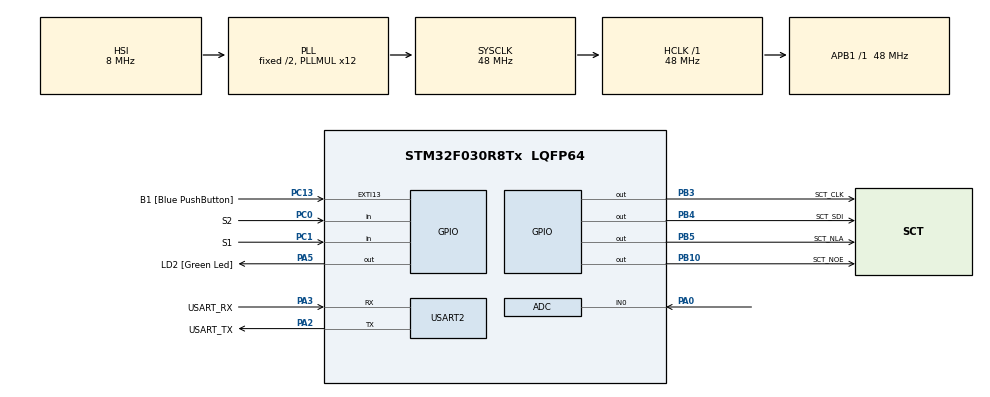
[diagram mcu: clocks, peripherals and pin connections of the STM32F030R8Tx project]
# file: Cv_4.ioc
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ADC.ContinuousConvMode=ENABLE
ADC.Overrun=ADC_OVR_DATA_OVERWRITTEN
ADC.SamplingTime=ADC_SAMPLETIME_239CYCLES_5
Mcu.Family=STM32F0
Mcu.Name=STM32F030R8Tx
Mcu.Package=LQFP64
NVIC.ADC1_IRQn=true\:0\:0\:false\:false\:true\:true\:true\:true
PA0.Mode=IN0
PA0.Signal=ADC_IN0
PA13.GPIO_Label=TMS
PA13.Mode=Serial_Wire
PA13.Signal=SYS_SWDIO
PA14.GPIO_Label=TCK
PA14.Mode=Serial_Wire
PA14.Signal=SYS_SWCLK
PA2.GPIO_Label=USART_TX
PA2.GPIO_Mode=GPIO_MODE_AF_PP
PA2.GPIO_PuPd=GPIO_NOPULL
PA2.GPIO_Speed=GPIO_SPEED_FREQ_LOW
PA2.Mode=Asynchronous
PA2.Signal=USART2_TX
PA3.GPIO_Label=USART_RX
PA3.GPIO_Mode=GPIO_MODE_AF_PP
PA3.GPIO_PuPd=GPIO_NOPULL
PA3.GPIO_Speed=GPIO_SPEED_FREQ_LOW
PA3.Mode=Asynchronous
PA3.Signal=USART2_RX
PA5.GPIO_Label=LD2 [Green Led]
PA5.GPIO_Mode=GPIO_MODE_OUTPUT_PP
PA5.GPIO_PuPd=GPIO_NOPULL
PA5.GPIO_Speed=GPIO_SPEED_FREQ_LOW
PA5.Signal=GPIO_Output
PB10.GPIO_Label=SCT_NOE
PB10.Signal=GPIO_Output
PB3.GPIO_Label=SCT_CLK
PB3.Signal=GPIO_Output
PB4.GPIO_Label=SCT_SDI
PB4.Signal=GPIO_Output
PB5.GPIO_Label=SCT_NLA
PB5.Signal=GPIO_Output
PC0.GPIO_Label=S2
PC0.GPIO_PuPd=GPIO_PULLUP
PC0.Signal=GPIO_Input
PC1.GPIO_Label=S1
PC1.GPIO_PuPd=GPIO_PULLUP
PC1.Signal=GPIO_Input
PC13.GPIO_Label=B1 [Blue PushButton]
PC13.GPIO_ModeDefaultEXTI=GPIO_MODE_IT_FALLING
PC13.Signal=GPXTI13
PC14-OSC32_IN.Mode=LSE-External-Oscillator
PC14-OSC32_IN.Signal=RCC_OSC32_IN
PC15-OSC32_OUT.Mode=LSE-External-Oscillator
PC15-OSC32_OUT.Signal=RCC_OSC32_OUT
PF0-OSC_IN.Mode=HSE-External-Clock-Source
PF0-OSC_IN.Signal=RCC_OSC_IN
PF1-OSC_OUT.Signal=RCC_OSC_OUT
ProjectManager.HeapSize=0x200
ProjectManager.StackSize=0x400
ProjectManager.TargetToolchain=STM32CubeIDE
RCC.AHBFreq_Value=48000000
RCC.APB1Freq_Value=48000000
RCC.APB1TimFreq_Value=48000000
RCC.HCLKFreq_Value=48000000
RCC.PLLMUL=RCC_PLL_MUL12
RCC.SYSCLKFreq_VALUE=48000000
RCC.SYSCLKSource=RCC_SYSCLKSOURCE_PLLCLK
USART2.VirtualMode-Asynchronous=VM_ASYNC
VP_ADC_TempSens_Input.Mode=IN-TempSens
VP_ADC_Vref_Input.Mode=IN-Vrefint
board=NUCLEO-F030R8

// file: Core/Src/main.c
/* USER CODE BEGIN Header */
/**
  ******************************************************************************
  * @file           : main.c
  * @brief          : Main program body
  ******************************************************************************
  * @attention
  *
  * Copyright (c) 2022 STMicroelectronics.
  * All rights reserved.
  *
  * This software is licensed under terms that can be found in the LICENSE file
  * in the root directory of this software component.
  * If no LICENSE file comes with this software, it is provided AS-IS.
  *
  ******************************************************************************
  */
/* USER CODE END Header */
#include "main.h"

/* USER CODE BEGIN Includes */
#include "sct.h"
/* USER CODE END Includes */

/* USER CODE BEGIN PD */
#define ADC_Q 12;
/* Temperature sensor calibration value address */
#define TEMP110_CAL_ADDR ((uint16_t*) ((uint32_t) 0x1FFFF7C2))
#define TEMP30_CAL_ADDR ((uint16_t*) ((uint32_t) 0x1FFFF7B8))
/* Internal voltage reference calibration value address */
#define VREFINT_CAL_ADDR ((uint16_t*) ((uint32_t) 0x1FFFF7BA))

/* USER CODE END PD */

ADC_HandleTypeDef hadc;

UART_HandleTypeDef huart2;

/* USER CODE BEGIN PV */
static volatile uint32_t raw_pot;
static volatile uint32_t raw_temp;
static volatile uint32_t raw_volt;
static volatile uint32_t delay;

/* USER CODE END PV */

void SystemClock_Config(void);
static void MX_GPIO_Init(void);
static void MX_USART2_UART_Init(void);
static void MX_ADC_Init(void);

/* USER CODE BEGIN 0 */

void HAL_ADC_ConvCpltCallback(ADC_HandleTypeDef *hadc) {
	static uint32_t chanel = 0;
	if (chanel == 0) {

		static uint32_t avg_pot;
		raw_pot = avg_pot >> ADC_Q;
		avg_pot -= raw_pot;
		avg_pot += HAL_ADC_GetValue(hadc);
	}
	else if (chanel == 1) {

		raw_temp = HAL_ADC_GetValue(hadc);

	}
	else if (chanel == 2) {

		raw_volt = HAL_ADC_GetValue(hadc);

	}
	if (__HAL_ADC_GET_FLAG(hadc, ADC_FLAG_EOS)) chanel = 0;
	else chanel++;

}
/* USER CODE END 0 */

int main(void)
{

  /* MCU Configuration--------------------------------------------------------*/

  /* Reset of all peripherals, Initializes the Flash interface and the Systick. */
  HAL_Init();

  /* USER CODE BEGIN Init */
  sct_init();
  /* USER CODE END Init */

  /* Configure the system clock */
  SystemClock_Config();

  /* Initialize all configured peripherals */
  MX_GPIO_Init();
  MX_USART2_UART_Init();
  MX_ADC_Init();
  /* USER CODE BEGIN 2 */
  HAL_ADCEx_Calibration_Start(&hadc);
  HAL_ADC_Start_IT(&hadc);
  static enum { SHOW_POT, SHOW_VOLT, SHOW_TEMP } state = SHOW_POT;

  /* USER CODE END 2 */

  /* Infinite loop */
  /* USER CODE BEGIN WHILE */
  while (1)
  {

		if (state==SHOW_POT){
			sct_value(raw_pot * 500 / 4096, raw_pot * 8 / 4096);
		}
		else if (state == SHOW_TEMP) {
			int32_t temperature = (raw_temp - (int32_t) (*TEMP30_CAL_ADDR));
			temperature = temperature * (int32_t) (110 - 30);
			temperature = temperature / (int32_t) (*TEMP110_CAL_ADDR - *TEMP30_CAL_ADDR);
			temperature = temperature + 30;
			sct_value(temperature, 1);
		}
		else if (state == SHOW_VOLT) {
			uint32_t voltage = 330 * (*VREFINT_CAL_ADDR) / raw_volt;
			sct_value(voltage, 8);
		}
		if (HAL_GPIO_ReadPin(GPIOC, S1_Pin) == 0) {
			state = SHOW_TEMP;
			delay = HAL_GetTick();
		} else if (HAL_GPIO_ReadPin(GPIOC, S2_Pin) == 0) {
			state = SHOW_VOLT;
			delay = HAL_GetTick();
		}
		if (HAL_GetTick() > delay + 1000) {
			state = SHOW_POT;
		}

    /* USER CODE END WHILE */

  }
}

void SystemClock_Config(void)
{
  RCC_OscInitTypeDef RCC_OscInitStruct = {0};
  RCC_ClkInitTypeDef RCC_ClkInitStruct = {0};

  /** Initializes the RCC Oscillators according to the specified parameters
  * in the RCC_OscInitTypeDef structure.
  */
  RCC_OscInitStruct.OscillatorType = RCC_OSCILLATORTYPE_HSI|RCC_OSCILLATORTYPE_HSI14;
  RCC_OscInitStruct.HSIState = RCC_HSI_ON;
  RCC_OscInitStruct.HSI14State = RCC_HSI14_ON;
  RCC_OscInitStruct.HSICalibrationValue = RCC_HSICALIBRATION_DEFAULT;
  RCC_OscInitStruct.HSI14CalibrationValue = 16;
  RCC_OscInitStruct.PLL.PLLState = RCC_PLL_ON;
  RCC_OscInitStruct.PLL.PLLSource = RCC_PLLSOURCE_HSI;
  RCC_OscInitStruct.PLL.PLLMUL = RCC_PLL_MUL12;
  RCC_OscInitStruct.PLL.PREDIV = RCC_PREDIV_DIV1;
  if (HAL_RCC_OscConfig(&RCC_OscInitStruct) != HAL_OK)
  {
    Error_Handler();
  }

  /** Initializes the CPU, AHB and APB buses clocks
  */
  RCC_ClkInitStruct.ClockType = RCC_CLOCKTYPE_HCLK|RCC_CLOCKTYPE_SYSCLK
                              |RCC_CLOCKTYPE_PCLK1;
  RCC_ClkInitStruct.SYSCLKSource = RCC_SYSCLKSOURCE_PLLCLK;
  RCC_ClkInitStruct.AHBCLKDivider = RCC_SYSCLK_DIV1;
  RCC_ClkInitStruct.APB1CLKDivider = RCC_HCLK_DIV1;

  if (HAL_RCC_ClockConfig(&RCC_ClkInitStruct, FLASH_LATENCY_1) != HAL_OK)
  {
    Error_Handler();
  }
}

static void MX_ADC_Init(void)
{

  ADC_ChannelConfTypeDef sConfig = {0};

  /** Configure the global features of the ADC (Clock, Resolution, Data Alignment and number of conversion)
  */
  hadc.Instance = ADC1;
  hadc.Init.ClockPrescaler = ADC_CLOCK_ASYNC_DIV1;
  hadc.Init.Resolution = ADC_RESOLUTION_12B;
  hadc.Init.DataAlign = ADC_DATAALIGN_RIGHT;
  hadc.Init.ScanConvMode = ADC_SCAN_DIRECTION_FORWARD;
  hadc.Init.EOCSelection = ADC_EOC_SINGLE_CONV;
  hadc.Init.LowPowerAutoWait = DISABLE;
  hadc.Init.LowPowerAutoPowerOff = DISABLE;
  hadc.Init.ContinuousConvMode = ENABLE;
  hadc.Init.DiscontinuousConvMode = DISABLE;
  hadc.Init.ExternalTrigConv = ADC_SOFTWARE_START;
  hadc.Init.ExternalTrigConvEdge = ADC_EXTERNALTRIGCONVEDGE_NONE;
  hadc.Init.DMAContinuousRequests = DISABLE;
  hadc.Init.Overrun = ADC_OVR_DATA_OVERWRITTEN;
  if (HAL_ADC_Init(&hadc) != HAL_OK)
  {
    Error_Handler();
  }

  /** Configure for the selected ADC regular channel to be converted.
  */
  sConfig.Channel = ADC_CHANNEL_0;
  sConfig.Rank = ADC_RANK_CHANNEL_NUMBER;
  sConfig.SamplingTime = ADC_SAMPLETIME_239CYCLES_5;
  if (HAL_ADC_ConfigChannel(&hadc, &sConfig) != HAL_OK)
  {
    Error_Handler();
  }

  /** Configure for the selected ADC regular channel to be converted.
  */
  sConfig.Channel = ADC_CHANNEL_TEMPSENSOR;
  if (HAL_ADC_ConfigChannel(&hadc, &sConfig) != HAL_OK)
  {
    Error_Handler();
  }

  /** Configure for the selected ADC regular channel to be converted.
  */
  sConfig.Channel = ADC_CHANNEL_VREFINT;
  if (HAL_ADC_ConfigChannel(&hadc, &sConfig) != HAL_OK)
  {
    Error_Handler();
  }

}

static void MX_USART2_UART_Init(void)
{

  huart2.Instance = USART2;
  huart2.Init.BaudRate = 38400;
  huart2.Init.WordLength = UART_WORDLENGTH_8B;
  huart2.Init.StopBits = UART_STOPBITS_1;
  huart2.Init.Parity = UART_PARITY_NONE;
  huart2.Init.Mode = UART_MODE_TX_RX;
  huart2.Init.HwFlowCtl = UART_HWCONTROL_NONE;
  huart2.Init.OverSampling = UART_OVERSAMPLING_16;
  huart2.Init.OneBitSampling = UART_ONE_BIT_SAMPLE_DISABLE;
  huart2.AdvancedInit.AdvFeatureInit = UART_ADVFEATURE_NO_INIT;
  if (HAL_UART_Init(&huart2) != HAL_OK)
  {
    Error_Handler();
  }

}

static void MX_GPIO_Init(void)
{
  GPIO_InitTypeDef GPIO_InitStruct = {0};

  /* GPIO Ports Clock Enable */
  __HAL_RCC_GPIOC_CLK_ENABLE();
  __HAL_RCC_GPIOF_CLK_ENABLE();
  __HAL_RCC_GPIOA_CLK_ENABLE();
  __HAL_RCC_GPIOB_CLK_ENABLE();

  /*Configure GPIO pin Output Level */
  HAL_GPIO_WritePin(GPIOA, GPIO_PIN_5, GPIO_PIN_RESET);

  /*Configure GPIO pin Output Level */
  HAL_GPIO_WritePin(GPIOB, GPIO_PIN_10|GPIO_PIN_3|GPIO_PIN_4|GPIO_PIN_5, GPIO_PIN_RESET);

  /*Configure GPIO pin : PC13 */
  GPIO_InitStruct.Pin = GPIO_PIN_13;
  GPIO_InitStruct.Mode = GPIO_MODE_IT_FALLING;
  GPIO_InitStruct.Pull = GPIO_NOPULL;
  HAL_GPIO_Init(GPIOC, &GPIO_InitStruct);

  /*Configure GPIO pins : PC0 PC1 */
  GPIO_InitStruct.Pin = GPIO_PIN_0|GPIO_PIN_1;
  GPIO_InitStruct.Mode = GPIO_MODE_INPUT;
  GPIO_InitStruct.Pull = GPIO_PULLUP;
  HAL_GPIO_Init(GPIOC, &GPIO_InitStruct);

  /*Configure GPIO pin : PA5 */
  GPIO_InitStruct.Pin = GPIO_PIN_5;
  GPIO_InitStruct.Mode = GPIO_MODE_OUTPUT_PP;
  GPIO_InitStruct.Pull = GPIO_NOPULL;
  GPIO_InitStruct.Speed = GPIO_SPEED_FREQ_LOW;
  HAL_GPIO_Init(GPIOA, &GPIO_InitStruct);

  /*Configure GPIO pins : PB10 PB3 PB4 PB5 */
  GPIO_InitStruct.Pin = GPIO_PIN_10|GPIO_PIN_3|GPIO_PIN_4|GPIO_PIN_5;
  GPIO_InitStruct.Mode = GPIO_MODE_OUTPUT_PP;
  GPIO_InitStruct.Pull = GPIO_NOPULL;
  GPIO_InitStruct.Speed = GPIO_SPEED_FREQ_LOW;
  HAL_GPIO_Init(GPIOB, &GPIO_InitStruct);

}

void Error_Handler(void)
{
  __disable_irq();
  while (1)
  {
  }
}
